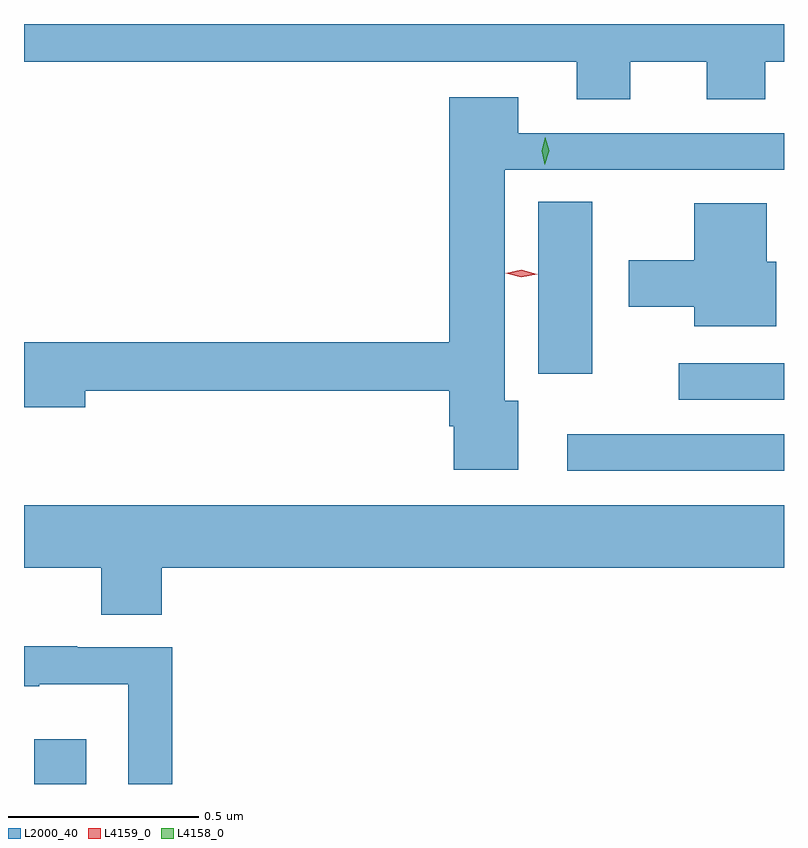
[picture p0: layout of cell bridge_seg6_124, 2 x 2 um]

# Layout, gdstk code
import gdstk
lib = gdstk.Library(unit=1e-6, precision=1e-09)
def R(c, l, rs):  # rectangles x0, y0, x1, y1
    for r in rs: c.add(gdstk.rectangle(r[:2], r[2:], *l))
def P(c, l, *ps):  # polygons
    for p in ps: c.add(gdstk.Polygon(p, *l))
L2000_40 = (2000, 40)
L4158_0 = (4158, 0)
L4159_0 = (4159, 0)

bridge_seg6_124 = lib.new_cell('bridge_seg6_124')
R(bridge_seg6_124, L2000_40, [(406.46,920.127,406.597,920.245), (407.862,920.952,408.433,921.048), (408.156,921.138,408.433,921.234), (407.786,921.207,407.929,921.659)])
P(bridge_seg6_124, L2000_40, [(408.028,922.028),(408.23,922.028),(408.23,921.929),(408.383,921.929),(408.383,922.028),(408.433,922.028),(408.433,922.127),(406.433,922.127),(406.433,922.028),(407.888,922.028),(407.888,921.929),(408.028,921.929)],
  [(407.734,921.136),(407.698,921.136),(407.698,921.744),(408.433,921.744),(408.433,921.84),(407.734,921.84),(407.734,921.934),(407.552,921.934),(407.552,921.29),(406.433,921.29),(406.433,921.119),(406.594,921.119),(406.594,921.162),(407.552,921.162),(407.552,921.068),(407.564,921.068),(407.564,920.954),(407.734,920.954)],
  [(408.412,921.501),(408.388,921.501),(408.388,921.655),(408.197,921.655),(408.197,921.505),(408.024,921.505),(408.024,921.383),(408.197,921.383),(408.197,921.332),(408.412,921.332)],
  [(406.796,920.696),(408.433,920.696),(408.433,920.86),(406.433,920.86),(406.433,920.696),(406.636,920.696),(406.636,920.572),(406.796,920.572)],
  [(406.823,920.487),(406.573,920.487),(406.573,920.489),(406.433,920.489),(406.433,920.384),(406.473,920.384),(406.473,920.39),(406.707,920.39),(406.707,920.127),(406.823,920.127)])
P(bridge_seg6_124, L4158_0, [(407.804,921.757),(407.804,921.757),(407.795,921.793),(407.805,921.829),(407.805,921.829),(407.805,921.829),(407.815,921.793),(407.804,921.757)])
P(bridge_seg6_124, L4159_0, [(407.742,921.46),(407.701,921.471),(407.701,921.471),(407.701,921.471),(407.742,921.48),(407.783,921.469),(407.783,921.469),(407.783,921.469)])

lib.write_gds('bridge_seg6_124.gds')
